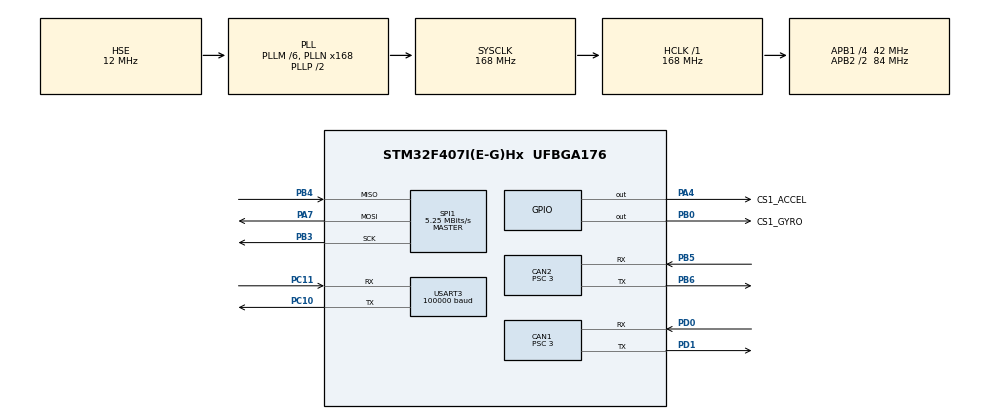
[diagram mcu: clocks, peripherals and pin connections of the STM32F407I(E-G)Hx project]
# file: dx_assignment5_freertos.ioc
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CAN1.ABOM=ENABLE
CAN1.AWUM=ENABLE
CAN1.BS1=CAN_BS1_7TQ
CAN1.BS2=CAN_BS2_6TQ
CAN1.CalculateBaudRate=1000000
CAN1.CalculateTimeBit=1000
CAN1.CalculateTimeQuantum=71.42857142857143
CAN1.Mode=CAN_MODE_NORMAL
CAN1.NART=ENABLE
CAN1.Prescaler=3
CAN1.TXFP=ENABLE
CAN2.ABOM=ENABLE
CAN2.BS1=CAN_BS1_7TQ
CAN2.BS2=CAN_BS2_6TQ
CAN2.CalculateBaudRate=1000000
CAN2.CalculateTimeBit=1000
CAN2.CalculateTimeQuantum=71.42857142857143
CAN2.NART=ENABLE
CAN2.Prescaler=3
CAN2.TXFP=ENABLE
Dma.Request0=USART3_RX
Dma.USART3_RX.0.Direction=DMA_PERIPH_TO_MEMORY
Dma.USART3_RX.0.FIFOMode=DMA_FIFOMODE_DISABLE
Dma.USART3_RX.0.Instance=DMA1_Stream1
Dma.USART3_RX.0.MemDataAlignment=DMA_MDATAALIGN_BYTE
Dma.USART3_RX.0.MemInc=DMA_MINC_ENABLE
Dma.USART3_RX.0.Mode=DMA_NORMAL
Dma.USART3_RX.0.PeriphDataAlignment=DMA_PDATAALIGN_BYTE
Dma.USART3_RX.0.PeriphInc=DMA_PINC_DISABLE
Dma.USART3_RX.0.Priority=DMA_PRIORITY_HIGH
FREERTOS.CountingSemaphores01=CAN1CountingSem,3,Dynamic,NULL;CAN2CountingSem,3,Dynamic,NULL
FREERTOS.Queues01=can1_send_fifo,16,can_tx_frame,0,Dynamic,NULL,NULL;can2_send_fifo,16,can_tx_frame,0,Dynamic,NULL,NULL
FREERTOS.Tasks01=CAN1_Sending_Service,40,256,can1_sending_service,As weak,NULL,Dynamic,NULL,NULL;CAN2_Sending_Service,40,256,can2_sending_service,As weak,NULL,Dynamic,NULL,NULL
FREERTOS.configMAX_TASK_NAME_LEN=32
FREERTOS.configMINIMAL_STACK_SIZE=128
FREERTOS.configTOTAL_HEAP_SIZE=50000
FREERTOS.configUSE_NEWLIB_REENTRANT=1
Mcu.Family=STM32F4
Mcu.Name=STM32F407I(E-G)Hx
Mcu.Package=UFBGA176
NVIC.CAN1_RX0_IRQn=true\:5\:0\:false\:false\:true\:true\:true\:true\:true
NVIC.CAN1_TX_IRQn=true\:5\:0\:false\:false\:true\:true\:true\:true\:true
NVIC.CAN2_RX1_IRQn=true\:5\:0\:false\:false\:true\:true\:true\:true\:true
NVIC.CAN2_SCE_IRQn=true\:5\:0\:false\:false\:true\:true\:true\:true\:true
NVIC.CAN2_TX_IRQn=true\:5\:0\:false\:false\:true\:true\:true\:true\:true
NVIC.DMA1_Stream1_IRQn=true\:5\:0\:false\:false\:true\:true\:true\:true\:true
NVIC.PriorityGroup=NVIC_PRIORITYGROUP_4
NVIC.TIM7_IRQn=true\:15\:0\:false\:false\:true\:false\:false\:true\:true
NVIC.TimeBase=TIM7_IRQn
NVIC.TimeBaseIP=TIM7
NVIC.USART3_IRQn=true\:5\:0\:false\:false\:true\:true\:true\:true\:true
PA13.Mode=Serial_Wire
PA13.Signal=SYS_JTMS-SWDIO
PA14.Mode=Serial_Wire
PA14.Signal=SYS_JTCK-SWCLK
PA4.GPIO_Label=CS1_ACCEL
PA4.GPIO_PuPd=GPIO_NOPULL
PA4.GPIO_Speed=GPIO_SPEED_FREQ_HIGH
PA4.PinState=GPIO_PIN_SET
PA4.Signal=GPIO_Output
PA7.Mode=Full_Duplex_Master
PA7.Signal=SPI1_MOSI
PB0.GPIO_Label=CS1_GYRO
PB0.GPIO_Speed=GPIO_SPEED_FREQ_HIGH
PB0.PinState=GPIO_PIN_SET
PB0.Signal=GPIO_Output
PB3.Mode=Full_Duplex_Master
PB3.Signal=SPI1_SCK
PB4.Mode=Full_Duplex_Master
PB4.Signal=SPI1_MISO
PB5.Mode=CAN_Activate
PB5.Signal=CAN2_RX
PB6.Mode=CAN_Activate
PB6.Signal=CAN2_TX
PC10.Mode=Asynchronous
PC10.Signal=USART3_TX
PC11.GPIO_ModeDefaultPP=GPIO_MODE_AF_PP
PC11.GPIO_PuPd=GPIO_PULLUP
PC11.GPIO_Speed=GPIO_SPEED_FREQ_VERY_HIGH
PC11.Mode=Asynchronous
PC11.Signal=USART3_RX
PD0.Mode=CAN_Activate
PD0.Signal=CAN1_RX
PD1.Mode=CAN_Activate
PD1.Signal=CAN1_TX
PH0-OSC_IN.Mode=HSE-External-Oscillator
PH0-OSC_IN.Signal=RCC_OSC_IN
PH1-OSC_OUT.Mode=HSE-External-Oscillator
PH1-OSC_OUT.Signal=RCC_OSC_OUT
ProjectManager.HeapSize=0x200
ProjectManager.StackSize=0x400
ProjectManager.TargetToolchain=CMake
RCC.48MHZClocksFreq_Value=84000000
RCC.AHBFreq_Value=168000000
RCC.APB1CLKDivider=RCC_HCLK_DIV4
RCC.APB1Freq_Value=42000000
RCC.APB1TimFreq_Value=84000000
RCC.APB2CLKDivider=RCC_HCLK_DIV2
RCC.APB2Freq_Value=84000000
RCC.APB2TimFreq_Value=168000000
RCC.CortexFreq_Value=168000000
RCC.HCLKFreq_Value=168000000
RCC.HSE_VALUE=12000000
RCC.HSI_VALUE=16000000
RCC.LSE_VALUE=32768
RCC.PLLM=6
RCC.PLLN=168
RCC.PLLSourceVirtual=RCC_PLLSOURCE_HSE
RCC.SYSCLKFreq_VALUE=168000000
RCC.SYSCLKSource=RCC_SYSCLKSOURCE_PLLCLK
RCC.VCOOutputFreq_Value=336000000
SPI1.BaudRatePrescaler=SPI_BAUDRATEPRESCALER_16
SPI1.CLKPhase=SPI_PHASE_2EDGE
SPI1.CLKPolarity=SPI_POLARITY_HIGH
SPI1.CalculateBaudRate=5.25 MBits/s
SPI1.Direction=SPI_DIRECTION_2LINES
SPI1.Mode=SPI_MODE_MASTER
SPI1.VirtualType=VM_MASTER
USART3.BaudRate=100000
USART3.Mode=MODE_RX
USART3.Parity=PARITY_EVEN
USART3.VirtualMode=VM_ASYNC
USART3.WordLength=WORDLENGTH_9B
VP_FREERTOS_VS_CMSIS_V2.Mode=CMSIS_V2
VP_SYS_VS_tim7.Mode=TIM7
board=custom

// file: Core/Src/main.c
/* USER CODE BEGIN Header */
/**
  ******************************************************************************
  * @file           : main.c
  * @brief          : Main program body
  ******************************************************************************
  * @attention
  *
  * Copyright (c) 2026 STMicroelectronics.
  * All rights reserved.
  *
  * This software is licensed under terms that can be found in the LICENSE file
  * in the root directory of this software component.
  * If no LICENSE file comes with this software, it is provided AS-IS.
  *
  ******************************************************************************
  */
/* USER CODE END Header */
#include "main.h"
#include "cmsis_os.h"
#include "can.h"
#include "dma.h"
#include "spi.h"
#include "usart.h"
#include "gpio.h"

/* USER CODE BEGIN Includes */
#include "usart.h"
#include "spi.h"
/* USER CODE END Includes */

void SystemClock_Config(void);
void MX_FREERTOS_Init(void);

/* USER CODE BEGIN 0 */
void bsp_can_init() {
    if (HAL_CAN_Start(&hcan1) != HAL_OK ||
        HAL_CAN_ActivateNotification(&hcan1, CAN_IT_RX_FIFO0_MSG_PENDING |
            CAN_IT_RX_FIFO0_OVERRUN | CAN_IT_TX_MAILBOX_EMPTY | CAN_IT_ERROR | CAN_IT_BUSOFF | CAN_IT_LAST_ERROR_CODE) != HAL_OK ||
        HAL_CAN_Start(&hcan2) != HAL_OK ||
        HAL_CAN_ActivateNotification(&hcan2, CAN_IT_RX_FIFO1_MSG_PENDING |
            CAN_IT_RX_FIFO1_OVERRUN | CAN_IT_TX_MAILBOX_EMPTY | CAN_IT_ERROR | CAN_IT_BUSOFF | CAN_IT_LAST_ERROR_CODE) != HAL_OK) Error_Handler();
}
/* USER CODE END 0 */

int main(void)
{

  /* USER CODE BEGIN 1 */
  __HAL_RCC_SYSCLK_CONFIG(RCC_SYSCLKSOURCE_HSI);
  /* USER CODE END 1 */

  /* MCU Configuration--------------------------------------------------------*/

  /* Reset of all peripherals, Initializes the Flash interface and the Systick. */
  HAL_Init();

  /* Configure the system clock */
  SystemClock_Config();

  /* Initialize all configured peripherals */
  MX_GPIO_Init();
  MX_DMA_Init();
  MX_CAN1_Init();
  MX_CAN2_Init();
  MX_SPI1_Init();
  MX_USART3_UART_Init();
  /* USER CODE BEGIN 2 */
#if VEHICLE_SAFETY_ENABLED && !ARM_FOUR_AXIS_BENCH && !CHASSIS_SUSPENDED_BENCH && !YAW_SUSPENDED_BENCH && !DM_ID_CONFIG_MODE
    MX_SPI1_Init();
#endif
    bsp_can_init();
  /* USER CODE END 2 */

  /* Init scheduler */
  osKernelInitialize();  /* Call init function for freertos objects (in cmsis_os2.c) */
  MX_FREERTOS_Init();

  /* Start scheduler */
  osKernelStart();

  /* We should never get here as control is now taken by the scheduler */

  /* Infinite loop */
  while (1)
  {

  }
}

void SystemClock_Config(void)
{
  RCC_OscInitTypeDef RCC_OscInitStruct = {0};
  RCC_ClkInitTypeDef RCC_ClkInitStruct = {0};

  /** Configure the main internal regulator output voltage
  */
  __HAL_RCC_PWR_CLK_ENABLE();
  __HAL_PWR_VOLTAGESCALING_CONFIG(PWR_REGULATOR_VOLTAGE_SCALE1);

  /** Initializes the RCC Oscillators according to the specified parameters
  * in the RCC_OscInitTypeDef structure.
  */
  RCC_OscInitStruct.OscillatorType = RCC_OSCILLATORTYPE_HSE;
  RCC_OscInitStruct.HSEState = RCC_HSE_ON;
  RCC_OscInitStruct.PLL.PLLState = RCC_PLL_ON;
  RCC_OscInitStruct.PLL.PLLSource = RCC_PLLSOURCE_HSE;
  RCC_OscInitStruct.PLL.PLLM = 6;
  RCC_OscInitStruct.PLL.PLLN = 168;
  RCC_OscInitStruct.PLL.PLLP = RCC_PLLP_DIV2;
  RCC_OscInitStruct.PLL.PLLQ = 4;
  if (HAL_RCC_OscConfig(&RCC_OscInitStruct) != HAL_OK)
  {
    Error_Handler();
  }

  /** Initializes the CPU, AHB and APB buses clocks
  */
  RCC_ClkInitStruct.ClockType = RCC_CLOCKTYPE_HCLK|RCC_CLOCKTYPE_SYSCLK
                              |RCC_CLOCKTYPE_PCLK1|RCC_CLOCKTYPE_PCLK2;
  RCC_ClkInitStruct.SYSCLKSource = RCC_SYSCLKSOURCE_PLLCLK;
  RCC_ClkInitStruct.AHBCLKDivider = RCC_SYSCLK_DIV1;
  RCC_ClkInitStruct.APB1CLKDivider = RCC_HCLK_DIV4;
  RCC_ClkInitStruct.APB2CLKDivider = RCC_HCLK_DIV2;

  if (HAL_RCC_ClockConfig(&RCC_ClkInitStruct, FLASH_LATENCY_5) != HAL_OK)
  {
    Error_Handler();
  }
}

void HAL_TIM_PeriodElapsedCallback(TIM_HandleTypeDef *htim)
{
  if (htim->Instance == TIM7)
  {
    HAL_IncTick();
  }
}

void Error_Handler(void)
{
  __disable_irq();
  while (1)
  {
  }
}

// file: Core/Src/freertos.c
/* USER CODE BEGIN Header */
/**
  ******************************************************************************
  * File Name          : freertos.c
  * Description        : Code for freertos applications
  ******************************************************************************
  * @attention
  *
  * Copyright (c) 2026 STMicroelectronics.
  * All rights reserved.
  *
  * This software is licensed under terms that can be found in the LICENSE file
  * in the root directory of this software component.
  * If no LICENSE file comes with this software, it is provided AS-IS.
  *
  ******************************************************************************
  */
/* USER CODE END Header */

#include "FreeRTOS.h"
#include "task.h"
#include "main.h"
#include "cmsis_os.h"

/* USER CODE BEGIN Includes */
#include "can_frame.h"
#include "arm_task.h"
#include "chassis_task.h"
#include "dm_id_config_task.h"
#include "task_ins.h"
#include "vehicle_state_task.h"
/* USER CODE END Includes */

/* USER CODE BEGIN Variables */
static const osThreadAttr_t arm_attributes = {
#if DM_ID_CONFIG_MODE
  .name = "DmIdConfig",
#else
  .name = "EngineerArm",
#endif
  .stack_size = 4096,
  .priority = (osPriority_t) osPriorityAboveNormal,
};
/* USER CODE END Variables */
/* Definitions for CAN1_Sending_Service */
osThreadId_t CAN1_Sending_ServiceHandle;
const osThreadAttr_t CAN1_Sending_Service_attributes = {
  .name = "CAN1_Sending_Service",
  .stack_size = 256 * 4,
  .priority = (osPriority_t) osPriorityHigh,
};
/* Definitions for CAN2_Sending_Service */
osThreadId_t CAN2_Sending_ServiceHandle;
const osThreadAttr_t CAN2_Sending_Service_attributes = {
  .name = "CAN2_Sending_Service",
  .stack_size = 256 * 4,
  .priority = (osPriority_t) osPriorityHigh,
};
/* Definitions for can1_send_fifo */
osMessageQueueId_t can1_send_fifoHandle;
const osMessageQueueAttr_t can1_send_fifo_attributes = {
  .name = "can1_send_fifo"
};
/* Definitions for can2_send_fifo */
osMessageQueueId_t can2_send_fifoHandle;
const osMessageQueueAttr_t can2_send_fifo_attributes = {
  .name = "can2_send_fifo"
};
/* Definitions for CAN1CountingSem */
osSemaphoreId_t CAN1CountingSemHandle;
const osSemaphoreAttr_t CAN1CountingSem_attributes = {
  .name = "CAN1CountingSem"
};
/* Definitions for CAN2CountingSem */
osSemaphoreId_t CAN2CountingSemHandle;
const osSemaphoreAttr_t CAN2CountingSem_attributes = {
  .name = "CAN2CountingSem"
};

void can1_sending_service(void *argument);
void can2_sending_service(void *argument);

void MX_FREERTOS_Init(void); /* (MISRA C 2004 rule 8.1) */

void MX_FREERTOS_Init(void) {

  /* Create the semaphores(s) */
  /* creation of CAN1CountingSem */
  CAN1CountingSemHandle = osSemaphoreNew(3, 3, &CAN1CountingSem_attributes);

  /* creation of CAN2CountingSem */
  CAN2CountingSemHandle = osSemaphoreNew(3, 3, &CAN2CountingSem_attributes);

  /* Create the queue(s) */
  /* creation of can1_send_fifo */
  can1_send_fifoHandle = osMessageQueueNew (16, sizeof(can_tx_frame), &can1_send_fifo_attributes);

  /* creation of can2_send_fifo */
  can2_send_fifoHandle = osMessageQueueNew (16, sizeof(can_tx_frame), &can2_send_fifo_attributes);

  /* Create the thread(s) */
  /* creation of CAN1_Sending_Service */
  CAN1_Sending_ServiceHandle = osThreadNew(can1_sending_service, NULL, &CAN1_Sending_Service_attributes);

  /* creation of CAN2_Sending_Service */
  CAN2_Sending_ServiceHandle = osThreadNew(can2_sending_service, NULL, &CAN2_Sending_Service_attributes);

  /* USER CODE BEGIN RTOS_THREADS */
#if DM_ID_CONFIG_MODE
  if (!osThreadNew(dm_id_config_task, NULL, &arm_attributes)) Error_Handler();
#else
  if (!osThreadNew(arm_control_task, NULL, &arm_attributes)) Error_Handler();
#if (!ARM_FOUR_AXIS_BENCH && !YAW_SUSPENDED_BENCH) || CHASSIS_SUSPENDED_BENCH
  static const osThreadAttr_t chassis_attributes = { .name="Chassis", .stack_size=3072, .priority=osPriorityAboveNormal };
  if (!osThreadNew(chassis_task, NULL, &chassis_attributes)) Error_Handler();
#endif
#if VEHICLE_SAFETY_ENABLED && !ARM_FOUR_AXIS_BENCH && !CHASSIS_SUSPENDED_BENCH && !YAW_SUSPENDED_BENCH
  // Sensor polling remains below the motor/remote owner. Each task blocks on
  // its period; health evaluation only consumes bounded snapshots.
  static const osThreadAttr_t ins_attributes = { .name="INS", .stack_size=4096, .priority=osPriorityNormal };
  static const osThreadAttr_t vehicle_attributes = { .name="VehicleHealth", .stack_size=3072, .priority=osPriorityAboveNormal };
  if (!osThreadNew(ins_task, NULL, &ins_attributes) ||
      !osThreadNew(vehicle_state_task, NULL, &vehicle_attributes)) Error_Handler();
#endif
#endif
  /* USER CODE END RTOS_THREADS */

}

__weak void can1_sending_service(void *argument)
{
  for(;;)
  {
    osDelay(1);
  }
}

__weak void can2_sending_service(void *argument)
{
  for(;;)
  {
    osDelay(1);
  }
}
